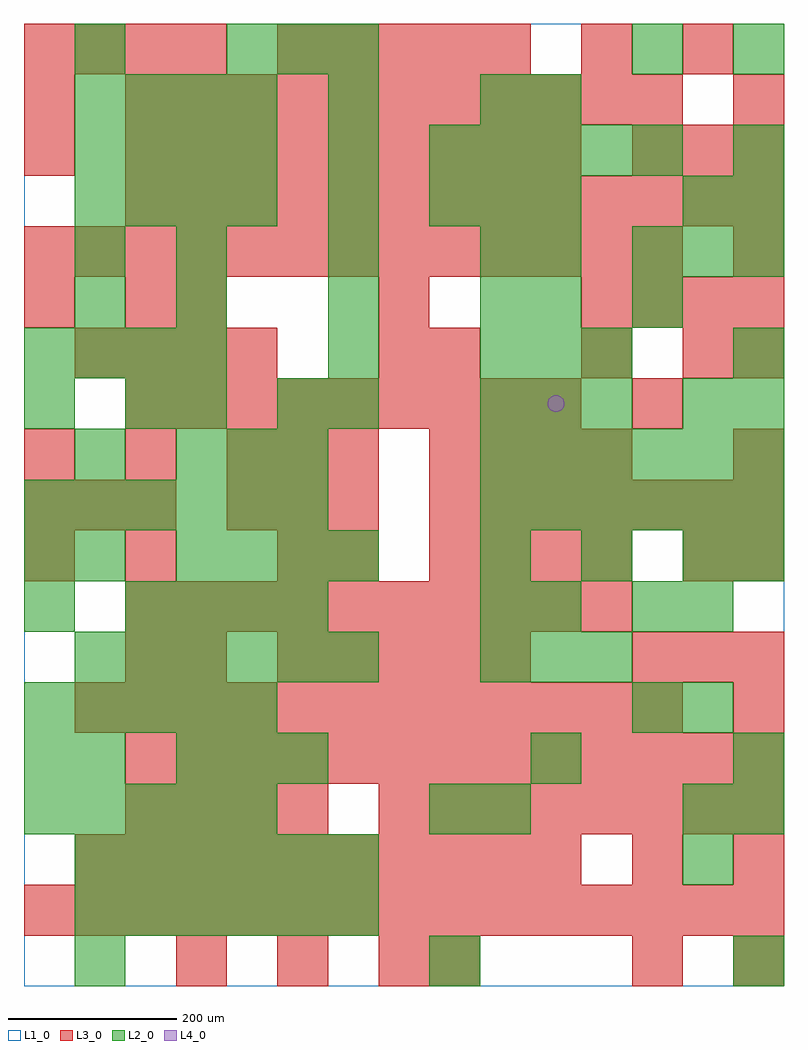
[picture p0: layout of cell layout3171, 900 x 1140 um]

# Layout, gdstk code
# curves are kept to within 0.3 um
import gdstk
lib = gdstk.Library(unit=1e-6, precision=1e-09)
def R(c, l, rs):  # rectangles x0, y0, x1, y1
    for r in rs: c.add(gdstk.rectangle(r[:2], r[2:], *l))
def A(c, l, x, y, w, h, nx, ny, dx, dy):  # array of equal rectangles
    R(c, l, [(x+i*dx, y+j*dy, x+i*dx+w, y+j*dy+h) for i in range(nx) for j in range(ny)])
def P(c, l, *ps):  # polygons
    for p in ps: c.add(gdstk.Polygon(p, *l))
L1_0 = (1, 0)
L2_0 = (2, 0)
L3_0 = (3, 0)
L4_0 = (4, 0)

layout3171 = lib.new_cell('layout3171')
R(layout3171, L1_0, [(0,0,900,1140)])
A(layout3171, L2_0, 60, 0, 60, 60, 1, 3, 0, 240)
A(layout3171, L2_0, 60, 60, 60, 60, 6, 2, 60, 60)
A(layout3171, L2_0, 0, 180, 60, 60, 5, 2, 60, 120)
A(layout3171, L2_0, 780, 180, 60, 60, 1, 3, 0, 120)
A(layout3171, L2_0, 180, 240, 60, 60, 3, 2, 60, 360)
A(layout3171, L2_0, 60, 360, 60, 60, 6, 1, 60, 0)
A(layout3171, L2_0, 540, 360, 60, 60, 3, 2, 60, 300)
A(layout3171, L2_0, 120, 420, 60, 60, 4, 1, 60, 0)
A(layout3171, L2_0, 180, 480, 60, 60, 4, 1, 60, 0)
A(layout3171, L2_0, 540, 480, 60, 60, 3, 1, 120, 0)
A(layout3171, L2_0, 0, 540, 60, 60, 6, 1, 60, 0)
A(layout3171, L2_0, 540, 540, 60, 60, 6, 2, 60, 60)
A(layout3171, L2_0, 0, 720, 60, 60, 4, 1, 60, 0)
A(layout3171, L2_0, 540, 720, 60, 60, 3, 1, 60, 0)
A(layout3171, L2_0, 180, 780, 60, 60, 3, 2, 180, 60)
A(layout3171, L2_0, 720, 840, 60, 60, 3, 1, 60, 0)
A(layout3171, L2_0, 60, 900, 60, 60, 4, 3, 60, 60)
A(layout3171, L2_0, 360, 900, 60, 60, 1, 3, 0, 60)
A(layout3171, L2_0, 480, 900, 60, 60, 3, 1, 60, 0)
A(layout3171, L2_0, 480, 960, 60, 60, 5, 1, 60, 0)
A(layout3171, L2_0, 240, 1080, 60, 60, 3, 1, 60, 0)
R(layout3171, L2_0, [(480,0,540,60), (840,0,900,60), (780,120,840,180), (480,180,540,240), (540,180,600,240), (840,180,900,240), (0,240,60,300), (600,240,660,300), (840,240,900,300), (720,300,780,360), (0,420,60,480), (540,420,600,480), (600,420,660,480), (720,420,780,480), (0,480,60,540), (840,480,900,540), (60,600,120,660), (0,660,60,720), (120,660,180,720), (180,660,240,720), (300,660,360,720), (360,660,420,720), (780,660,840,720), (840,660,900,720), (360,720,420,780), (840,720,900,780), (60,780,120,840), (600,780,660,840), (720,780,780,840), (60,840,120,900), (600,840,660,900), (780,900,840,960), (840,900,900,960), (840,960,900,1020), (540,1020,600,1080), (600,1020,660,1080), (60,1080,120,1140), (720,1080,780,1140), (840,1080,900,1140)])
A(layout3171, L3_0, 180, 0, 60, 60, 3, 1, 120, 0)
A(layout3171, L3_0, 0, 60, 60, 60, 15, 1, 60, 0)
A(layout3171, L3_0, 60, 120, 60, 60, 10, 1, 60, 0)
A(layout3171, L3_0, 840, 120, 60, 60, 1, 3, 0, 180)
A(layout3171, L3_0, 120, 180, 60, 60, 4, 1, 60, 0)
A(layout3171, L3_0, 420, 180, 60, 60, 8, 1, 60, 0)
A(layout3171, L3_0, 120, 240, 60, 60, 13, 2, 60, 660)
A(layout3171, L3_0, 60, 300, 60, 60, 12, 1, 60, 0)
A(layout3171, L3_0, 300, 360, 60, 60, 5, 2, 60, 720)
A(layout3171, L3_0, 720, 360, 60, 60, 3, 2, 60, 420)
A(layout3171, L3_0, 120, 420, 60, 60, 10, 1, 60, 0)
A(layout3171, L3_0, 480, 480, 60, 60, 4, 2, 60, 120)
A(layout3171, L3_0, 0, 540, 60, 60, 3, 1, 60, 0)
A(layout3171, L3_0, 240, 540, 60, 60, 3, 1, 60, 0)
A(layout3171, L3_0, 480, 540, 60, 60, 7, 1, 60, 0)
A(layout3171, L3_0, 0, 600, 60, 60, 3, 1, 120, 0)
A(layout3171, L3_0, 840, 600, 60, 60, 1, 3, 0, 120)
A(layout3171, L3_0, 120, 660, 60, 60, 9, 2, 60, 300)
A(layout3171, L3_0, 60, 720, 60, 60, 4, 1, 60, 0)
A(layout3171, L3_0, 180, 780, 60, 60, 3, 1, 240, 0)
A(layout3171, L3_0, 0, 840, 60, 60, 13, 1, 60, 0)
A(layout3171, L3_0, 720, 960, 60, 60, 3, 1, 60, 0)
A(layout3171, L3_0, 120, 1020, 60, 60, 11, 1, 60, 0)
A(layout3171, L3_0, 0, 1080, 60, 60, 4, 1, 60, 0)
R(layout3171, L3_0, [(480,0,540,60), (720,0,780,60), (840,0,900,60), (720,120,780,180), (120,360,180,420), (180,360,240,420), (0,480,60,540), (120,480,180,540), (300,480,360,540), (360,480,420,540), (780,480,840,540), (300,600,360,660), (360,600,420,660), (720,660,780,720), (420,720,480,780), (480,720,540,780), (660,720,720,780), (780,720,840,780), (0,780,60,840), (120,780,180,840), (0,960,60,1020), (0,1020,60,1080), (840,1020,900,1080), (660,1080,720,1140), (780,1080,840,1140)])
P(layout3171, L4_0, [(640,690),(639.239,693.827),(637.071,697.071),(633.827,699.239),(630,700),(626.173,699.239),(622.929,697.071),(620.761,693.827),(620,690),(620.761,686.173),(622.929,682.929),(626.173,680.761),(630,680),(633.827,680.761),(637.071,682.929),(639.239,686.173)])

lib.write_gds('layout3171.gds')
